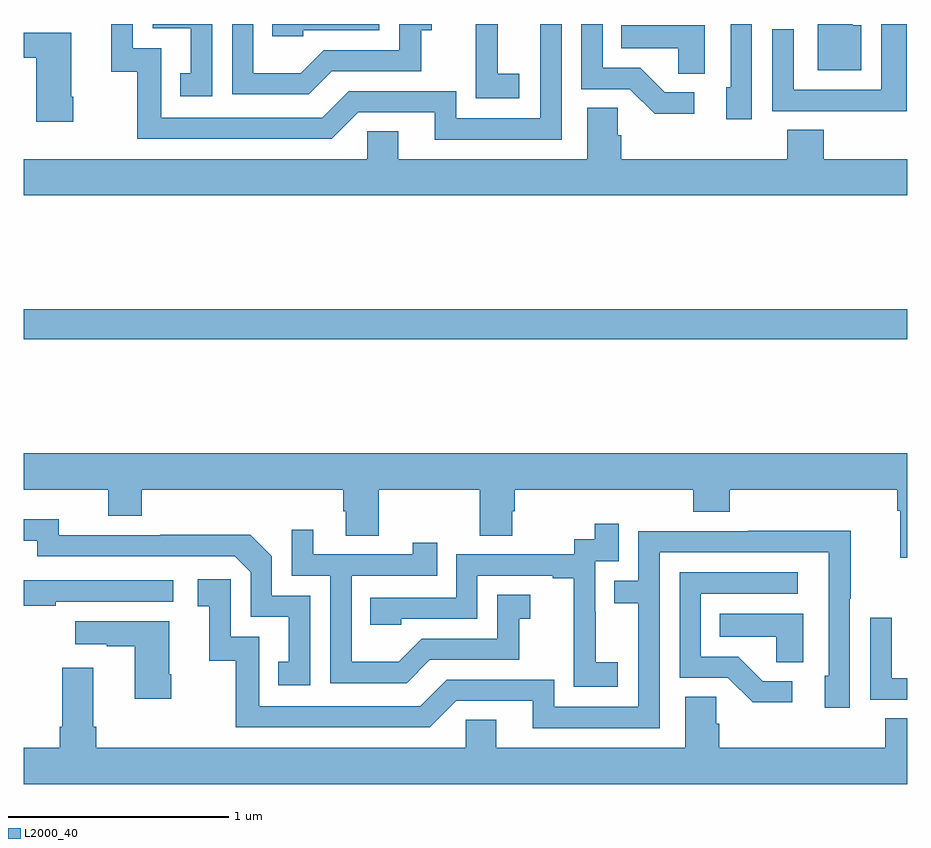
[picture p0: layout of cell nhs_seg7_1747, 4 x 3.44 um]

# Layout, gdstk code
import gdstk
lib = gdstk.Library(unit=1e-6, precision=1e-09)
def R(c, l, rs):  # rectangles x0, y0, x1, y1
    for r in rs: c.add(gdstk.rectangle(r[:2], r[2:], *l))
def P(c, l, *ps):  # polygons
    for p in ps: c.add(gdstk.Polygon(p, *l))
L2000_40 = (2000, 40)

nhs_seg7_1747 = lib.new_cell('nhs_seg7_1747')
R(nhs_seg7_1747, L2000_40, [(229,1058.572,233,1058.708)])
P(nhs_seg7_1747, L2000_40, [(232.036,1059.69),(231.901,1059.69),(231.79,1059.801),(231.621,1059.801),(231.621,1060),(231.525,1060),(231.525,1059.705),(231.744,1059.705),(231.857,1059.593),(232.036,1059.593)],
  [(232.997,1060),(232.881,1060),(232.881,1059.702),(232.485,1059.702),(232.485,1059.976),(232.389,1059.976),(232.389,1059.606),(232.705,1059.606),(232.705,1059.605),(232.997,1059.605)],
  [(232.792,1059.994),(232.753,1059.994),(232.753,1060),(232.595,1060),(232.595,1059.791),(232.792,1059.791)],
  [(232.296,1060),(232.2,1060),(232.2,1059.714),(232.181,1059.714),(232.181,1059.57),(232.296,1059.57)],
  [(231.435,1060),(231.339,1060),(231.339,1059.573),(230.958,1059.573),(230.958,1059.696),(230.472,1059.696),(230.352,1059.576),(229.623,1059.576),(229.623,1059.891),(229.494,1059.891),(229.494,1060),(229.397,1060),(229.397,1059.783),(229.515,1059.783),(229.515,1059.48),(230.394,1059.48),(230.514,1059.6),(230.861,1059.6),(230.861,1059.477),(231.435,1059.477)],
  [(229.854,1060),(229.584,1060),(229.584,1059.981),(229.757,1059.981),(229.757,1059.777),(229.708,1059.777),(229.708,1059.672),(229.854,1059.672)],
  [(231.244,1059.775),(231.146,1059.775),(231.146,1060),(231.047,1060),(231.047,1059.871),(231.046,1059.871),(231.046,1059.665),(231.244,1059.665)],
  [(230.265,1059.972),(230.61,1059.972),(230.61,1060),(230.125,1060),(230.125,1059.945),(230.265,1059.945)],
  [(230.395,1059.786),(230.799,1059.786),(230.799,1059.971),(230.848,1059.971),(230.848,1060),(230.7,1060),(230.7,1059.882),(230.358,1059.882),(230.254,1059.778),(230.04,1059.778),(230.04,1060),(229.944,1060),(229.944,1059.681),(230.29,1059.681)],
  [(232.084,1059.994),(231.706,1059.994),(231.706,1059.89),(231.963,1059.89),(231.963,1059.775),(232.084,1059.775)],
  [(229.224,1059.67),(229.216,1059.67),(229.216,1059.961),(229,1059.961),(229,1059.847),(229.058,1059.847),(229.058,1059.558),(229.224,1059.558)],
  [(233,1059.388),(232.622,1059.388),(232.622,1059.521),(232.457,1059.521),(232.457,1059.388),(231.704,1059.388),(231.704,1059.497),(231.69,1059.497),(231.69,1059.62),(231.551,1059.62),(231.551,1059.388),(230.695,1059.388),(230.695,1059.515),(230.556,1059.515),(230.556,1059.388),(229,1059.388),(229,1059.224),(233,1059.224)],
  [(229,1057.892),(229.382,1057.892),(229.382,1057.775),(229.535,1057.775),(229.535,1057.892),(230.447,1057.892),(230.447,1057.794),(230.459,1057.794),(230.459,1057.684),(230.607,1057.684),(230.607,1057.892),(231.064,1057.892),(231.064,1057.684),(231.211,1057.684),(231.211,1057.794),(231.224,1057.794),(231.224,1057.892),(232.031,1057.892),(232.031,1057.793),(232.196,1057.793),(232.196,1057.892),(232.955,1057.892),(232.955,1057.796),(232.967,1057.796),(232.967,1057.583),(233,1057.583),(233,1058.056),(229,1058.056)],
  [(230.298,1057.413),(230.124,1057.413),(230.124,1057.59),(230.026,1057.688),(229.618,1057.688),(229.618,1057.686),(229.158,1057.686),(229.158,1057.759),(229,1057.759),(229,1057.662),(229.062,1057.662),(229.062,1057.59),(229.956,1057.59),(230.028,1057.518),(230.028,1057.317),(230.201,1057.317),(230.201,1057.113),(230.152,1057.113),(230.152,1057.008),(230.298,1057.008)],
  [(231.688,1057.111),(231.59,1057.111),(231.59,1057.34),(231.588,1057.34),(231.588,1057.569),(231.693,1057.569),(231.693,1057.738),(231.585,1057.738),(231.585,1057.668),(231.492,1057.668),(231.492,1057.599),(230.958,1057.599),(230.958,1057.404),(230.569,1057.404),(230.569,1057.281),(230.709,1057.281),(230.709,1057.308),(231.054,1057.308),(231.054,1057.503),(231.395,1057.503),(231.395,1057.491),(231.491,1057.491),(231.491,1057.207),(231.49,1057.207),(231.49,1057.001),(231.688,1057.001)],
  [(230.839,1057.122),(231.243,1057.122),(231.243,1057.307),(231.292,1057.307),(231.292,1057.417),(231.144,1057.417),(231.144,1057.218),(230.802,1057.218),(230.698,1057.114),(230.484,1057.114),(230.484,1057.503),(230.873,1057.503),(230.873,1057.651),(230.762,1057.651),(230.762,1057.599),(230.311,1057.599),(230.311,1057.711),(230.214,1057.711),(230.214,1057.503),(230.388,1057.503),(230.388,1057.017),(230.734,1057.017)],
  [(231.879,1057.608),(232.644,1057.608),(232.644,1057.05),(232.625,1057.05),(232.625,1056.906),(232.74,1056.906),(232.74,1057.399),(232.743,1057.399),(232.743,1057.706),(232.279,1057.706),(232.279,1057.704),(231.783,1057.704),(231.783,1057.479),(231.673,1057.479),(231.673,1057.378),(231.783,1057.378),(231.783,1056.909),(231.402,1056.909),(231.402,1057.032),(230.916,1057.032),(230.796,1056.912),(230.067,1056.912),(230.067,1057.227),(229.938,1057.227),(229.938,1057.486),(229.788,1057.486),(229.788,1057.365),(229.841,1057.365),(229.841,1057.119),(229.959,1057.119),(229.959,1056.816),(230.838,1056.816),(230.958,1056.936),(231.305,1056.936),(231.305,1056.813),(231.879,1056.813)],
  [(232.48,1057.026),(232.345,1057.026),(232.234,1057.137),(232.065,1057.137),(232.065,1057.422),(232.504,1057.422),(232.504,1057.518),(231.969,1057.518),(231.969,1057.041),(232.188,1057.041),(232.301,1056.929),(232.48,1056.929)],
  [(229.145,1057.386),(229.678,1057.386),(229.678,1057.482),(229,1057.482),(229,1057.366),(229.145,1057.366)],
  [(232.528,1057.33),(232.15,1057.33),(232.15,1057.226),(232.407,1057.226),(232.407,1057.111),(232.528,1057.111)],
  [(233,1057.038),(232.929,1057.038),(232.929,1057.312),(232.833,1057.312),(232.833,1056.942),(233,1056.942)],
  [(229.668,1057.057),(229.66,1057.057),(229.66,1057.297),(229.233,1057.297),(229.233,1057.193),(229.376,1057.193),(229.376,1057.183),(229.502,1057.183),(229.502,1056.945),(229.668,1056.945)],
  [(233,1056.857),(232.901,1056.857),(232.901,1056.724),(232.148,1056.724),(232.148,1056.833),(232.134,1056.833),(232.134,1056.956),(231.995,1056.956),(231.995,1056.724),(231.139,1056.724),(231.139,1056.851),(231,1056.851),(231,1056.724),(229.328,1056.724),(229.328,1056.82),(229.315,1056.82),(229.315,1057.087),(229.175,1057.087),(229.175,1056.82),(229.163,1056.82),(229.163,1056.724),(229,1056.724),(229,1056.56),(233,1056.56)])

lib.write_gds('nhs_seg7_1747.gds')
